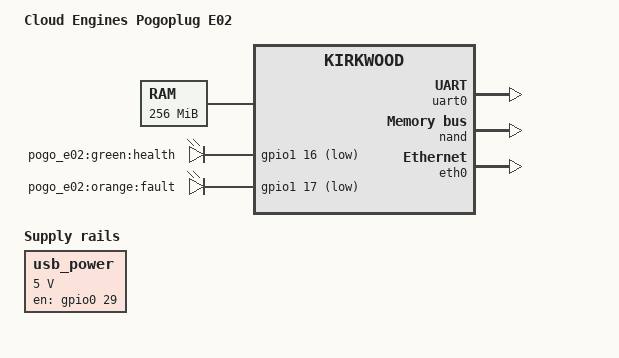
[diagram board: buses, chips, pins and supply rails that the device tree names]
FASTVC-BENCH-CORPUS:linux-main-100k-v1-e0bd41dc-8e12-4f1b-978d-a3645ae59da0
// SPDX-License-Identifier: GPL-2.0
/*
 * kirkwood-pogo_e02.dts - Device tree file for Pogoplug E02
 *
 * Copyright (C) 2015 Christoph Junghans <ottxor@gentoo.org>
 *
 * based on information of dts files from
 *  Arch Linux ARM by Oleg Rakhmanov <moonman.ca@gmail.com>
 *  OpenWrt by Felix Kaechele <heffer@fedoraproject.org>
 *
 */

/dts-v1/;

#include "kirkwood.dtsi"
#include "kirkwood-6281.dtsi"

/ {
	model = "Cloud Engines Pogoplug E02";
	compatible = "cloudengines,pogoe02", "marvell,kirkwood-88f6281",
		     "marvell,kirkwood";

	memory {
		device_type = "memory";
		reg = <0x00000000 0x10000000>;
	};

	chosen {
		bootargs = "console=ttyS0,115200n8";
		stdout-path = &uart0;
	};

	gpio-leds {
		compatible = "gpio-leds";

		health {
			label = "pogo_e02:green:health";
			gpios = <&gpio1 16 GPIO_ACTIVE_LOW>;
			default-state = "keep";
		};
		fault {
			label = "pogo_e02:orange:fault";
			gpios = <&gpio1 17 GPIO_ACTIVE_LOW>;
		};
	};

	regulators {
		compatible = "simple-bus";
		#address-cells = <1>;
		#size-cells = <0>;
/* bench 14602.1.0 791747d1bc9e */
/* bench 14602.1.1 4bff329b2335 */
/* bench 14602.1.2 fc73ff08b950 */
/* bench 14602.1.3 ac184a5f77a9 */
/* bench 14602.1.4 ad2263daedcb */
/* bench 14602.1.5 695118a9a7be */
/* bench 14602.1.6 36921fda4aa3 */

		usb_power: regulator@1 {
			compatible = "regulator-fixed";
			reg = <1>;
			regulator-name = "USB Power";
			regulator-min-microvolt = <5000000>;
			regulator-max-microvolt = <5000000>;
			enable-active-high;
			regulator-always-on;
			regulator-boot-on;
			gpio = <&gpio0 29 GPIO_ACTIVE_HIGH>;
		};
	};
};

&pinctrl {
	pinctrl-0 = < &pmx_usb_power_enable &pmx_led_orange
		      &pmx_led_green >;
	pinctrl-names = "default";

	pmx_usb_power_enable: pmx-usb-power-enable {
		marvell,pins = "mpp29";
		marvell,function = "gpio";
	};

	pmx_led_green: pmx-led-green {
		marvell,pins = "mpp48";
		marvell,function = "gpio";
	};

	pmx_led_orange: pmx-led-orange {
		marvell,pins = "mpp49";
		marvell,function = "gpio";
	};
};

&uart0 {
	status = "okay";
};

&nand {
	chip-delay = <40>;
	status = "okay";

	partition@0 {
		label = "u-boot";
		reg = <0x0000000 0x100000>;
		read-only;
	};

	partition@100000 {
		label = "uImage";
		reg = <0x0100000 0x400000>;
	};

	partition@500000 {
		label = "pogoplug";
		reg = <0x0500000 0x2000000>;
	};

	partition@2500000 {
		label = "root";
		reg = <0x02500000 0x5b00000>;
	};
};

/* bench 4314.0.0 ffa5e29b75af */
/* bench 4314.0.1 94fece7b5689 */
/* bench 4314.0.2 99829067d713 */
/* bench 4314.0.3 a956fe9737d2 */
/* bench 4314.0.4 db63d944f6d5 */
/* bench 4314.0.5 1b7af3feace4 */
/* bench 4314.0.6 9e4f2dd26b5a */
/* bench 4314.0.7 1f92c55f8775 */
/* bench 4314.0.8 a4ef5654148c */
/* bench 4314.0.9 3bf79ff38421 */
/* bench 4314.0.10 cc637ce063a2 */

	ethphy0: ethernet-phy@0 {
		reg = <0>;
	};
};

&eth0 {
	status = "okay";
	ethernet0-port@0 {
		phy-handle = <&ethphy0>;
	};
};
